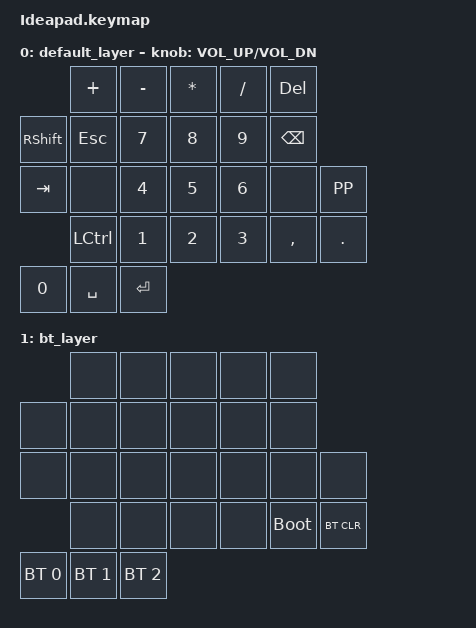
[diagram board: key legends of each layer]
#include <behaviors.dtsi>
#include <dt-bindings/zmk/keys.h>
#include <dt-bindings/zmk/bt.h>

/ {
    keymap {
        compatible = "zmk,keymap";

        default_layer {
            bindings = <
                              &kp PLUS     &kp MINUS       &kp STAR         &kp FSLH        &kp DEL
                &kp RSHFT     &kp ESC      &kp NUMBER_7    &kp NUMBER_8     &kp NUMBER_9    &kp BSPC
                &kp TAB       &none        &kp NUMBER_4    &kp NUMBER_5     &kp NUMBER_6    &none        &kp K_PP
                              &kp LCTRL    &kp NUMBER_1    &kp NUMBER_2     &kp NUMBER_3    &kp COMMA    &kp DOT
                &kp NUMBER_0  &kp SPACE    &kp ENTER
            >;
            sensor-bindings = <&inc_dec_kp C_VOL_UP C_VOL_DN>;
        };

        bt_layer {
            bindings = < 
                              &none   &none   &none   &none  &none
                &none         &none   &none   &none   &none  &none
                &none         &none   &none   &none   &none  &none        &none
                              &none   &none   &none   &none  &bootloader  &bt BT_CLR
                &bt BT_SEL 0  &bt BT_SEL 1   &bt BT_SEL 2
            >;
        };
    };
};
